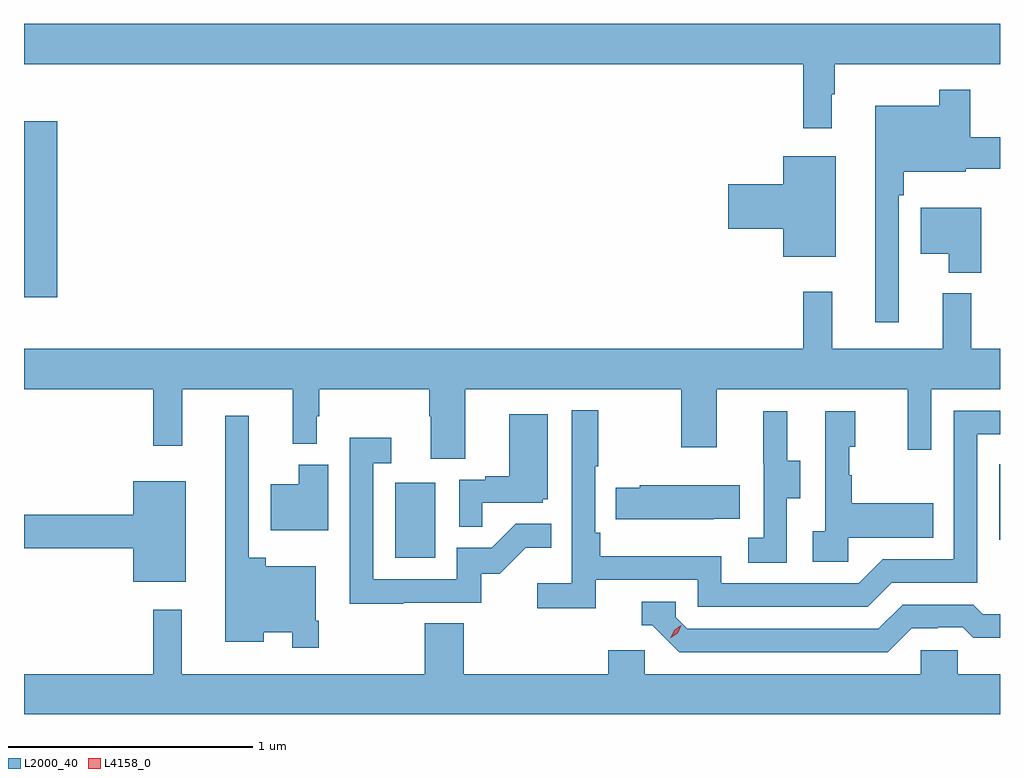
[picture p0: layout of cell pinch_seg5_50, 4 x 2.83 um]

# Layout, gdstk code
import gdstk
lib = gdstk.Library(unit=1e-6, precision=1e-09)
def R(c, l, rs):  # rectangles x0, y0, x1, y1
    for r in rs: c.add(gdstk.rectangle(r[:2], r[2:], *l))
def P(c, l, *ps):  # polygons
    for p in ps: c.add(gdstk.Polygon(p, *l))
L2000_40 = (2000, 40)
L4158_0 = (4158, 0)

pinch_seg5_50 = lib.new_cell('pinch_seg5_50')
R(pinch_seg5_50, L2000_40, [(1083.734,912.012,1083.898,912.319), (1086.21,912.087,1086.213,912.396), (1082.213,913.08,1082.35,913.801)])
P(pinch_seg5_50, L2000_40, [(1085.524,913.913),(1085.536,913.913),(1085.536,914.036),(1086.213,914.036),(1086.213,914.2),(1082.213,914.2),(1082.213,914.036),(1085.407,914.036),(1085.407,913.773),(1085.524,913.773)],
  [(1085.799,913.499),(1085.819,913.499),(1085.819,913.595),(1086.073,913.595),(1086.073,913.606),(1086.213,913.606),(1086.213,913.735),(1086.092,913.735),(1086.092,913.93),(1085.964,913.93),(1085.964,913.864),(1085.702,913.864),(1085.702,912.978),(1085.799,912.978)],
  [(1085.539,913.657),(1085.324,913.657),(1085.324,913.544),(1085.1,913.544),(1085.1,913.361),(1085.324,913.361),(1085.324,913.247),(1085.539,913.247)],
  [(1086.137,913.447),(1085.888,913.447),(1085.888,913.259),(1086.002,913.259),(1086.002,913.181),(1086.137,913.181)],
  [(1085.525,913.102),(1085.407,913.102),(1085.407,912.868),(1082.213,912.868),(1082.213,912.704),(1082.743,912.704),(1082.743,912.471),(1082.861,912.471),(1082.861,912.704),(1083.314,912.704),(1083.314,912.479),(1083.412,912.479),(1083.412,912.592),(1083.424,912.592),(1083.424,912.704),(1083.874,912.704),(1083.874,912.592),(1083.881,912.592),(1083.881,912.418),(1084.021,912.418),(1084.021,912.704),(1084.906,912.704),(1084.906,912.465),(1085.053,912.465),(1085.053,912.704),(1085.834,912.704),(1085.834,912.456),(1085.931,912.456),(1085.931,912.704),(1086.213,912.704),(1086.213,912.868),(1086.095,912.868),(1086.095,913.096),(1085.978,913.096),(1085.978,912.868),(1085.525,912.868)],
  [(1084.556,911.922),(1084.974,911.922),(1084.974,911.811),(1085.671,911.811),(1085.77,911.91),(1086.12,911.91),(1086.12,912.519),(1086.213,912.519),(1086.213,912.615),(1086.024,912.615),(1086.024,912.006),(1085.733,912.006),(1085.634,911.907),(1085.07,911.907),(1085.07,912.019),(1084.574,912.019),(1084.574,912.115),(1084.554,912.115),(1084.554,912.388),(1084.567,912.388),(1084.567,912.616),(1084.458,912.616),(1084.458,911.908),(1084.317,911.908),(1084.317,911.806),(1084.556,911.806)],
  [(1085.34,912.256),(1085.395,912.256),(1085.395,912.411),(1085.341,912.411),(1085.341,912.613),(1085.243,912.613),(1085.243,912.399),(1085.244,912.399),(1085.244,912.095),(1085.181,912.095),(1085.181,911.992),(1085.34,911.992)],
  [(1085.592,912.095),(1085.939,912.095),(1085.939,912.235),(1085.605,912.235),(1085.605,912.35),(1085.595,912.35),(1085.595,912.468),(1085.62,912.468),(1085.62,912.613),(1085.496,912.613),(1085.496,912.122),(1085.445,912.122),(1085.445,911.997),(1085.592,911.997)],
  [(1084.091,912.237),(1084.338,912.237),(1084.338,912.252),(1084.36,912.252),(1084.36,912.601),(1084.202,912.601),(1084.202,912.346),(1084.103,912.346),(1084.103,912.333),(1083.996,912.333),(1083.996,912.139),(1084.091,912.139)],
  [(1083.421,911.755),(1083.408,911.755),(1083.408,911.977),(1083.204,911.977),(1083.204,912.013),(1083.135,912.013),(1083.135,912.595),(1083.038,912.595),(1083.038,911.669),(1083.196,911.669),(1083.196,911.708),(1083.312,911.708),(1083.312,911.643),(1083.421,911.643)],
  [(1083.767,911.829),(1084.086,911.829),(1084.086,911.946),(1084.162,911.946),(1084.269,912.053),(1084.373,912.053),(1084.373,912.152),(1084.229,912.152),(1084.131,912.054),(1083.987,912.054),(1083.987,911.925),(1083.645,911.925),(1083.645,912.399),(1083.718,912.399),(1083.718,912.505),(1083.549,912.505),(1083.549,911.824),(1083.767,911.824)],
  [(1083.46,912.394),(1083.338,912.394),(1083.338,912.313),(1083.224,912.313),(1083.224,912.125),(1083.46,912.125)],
  [(1082.875,912.325),(1082.66,912.325),(1082.66,912.188),(1082.213,912.188),(1082.213,912.052),(1082.66,912.052),(1082.66,911.915),(1082.875,911.915)],
  [(1085.039,912.173),(1085.147,912.173),(1085.147,912.31),(1084.737,912.31),(1084.737,912.3),(1084.639,912.3),(1084.639,912.17),(1085.039,912.17)],
  [(1085.851,911.724),(1085.958,911.724),(1085.958,911.727),(1086.061,911.727),(1086.103,911.685),(1086.213,911.685),(1086.213,911.781),(1086.142,911.781),(1086.103,911.82),(1085.814,911.82),(1085.715,911.721),(1084.932,911.721),(1084.884,911.769),(1084.884,911.832),(1084.745,911.832),(1084.745,911.736),(1084.788,911.736),(1084.899,911.625),(1085.752,911.625)],
  [(1086.213,911.536),(1086.039,911.536),(1086.039,911.634),(1085.889,911.634),(1085.889,911.536),(1084.758,911.536),(1084.758,911.634),(1084.607,911.634),(1084.607,911.536),(1084.016,911.536),(1084.016,911.744),(1083.856,911.744),(1083.856,911.536),(1082.86,911.536),(1082.86,911.8),(1082.743,911.8),(1082.743,911.536),(1082.213,911.536),(1082.213,911.372),(1086.213,911.372)])
P(pinch_seg5_50, L4158_0, [(1084.862,911.682),(1084.862,911.683),(1084.877,911.715),(1084.907,911.735),(1084.907,911.735),(1084.907,911.735),(1084.892,911.702),(1084.862,911.682)])

lib.write_gds('pinch_seg5_50.gds')
